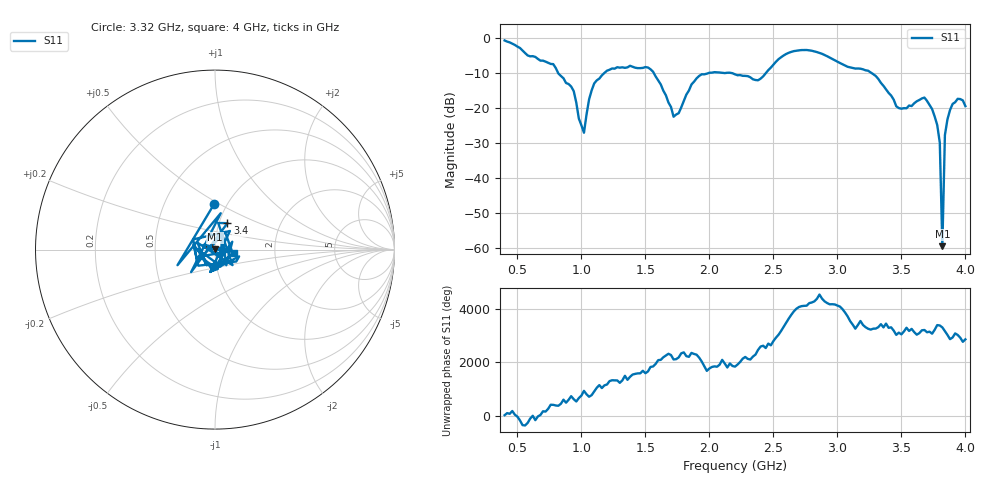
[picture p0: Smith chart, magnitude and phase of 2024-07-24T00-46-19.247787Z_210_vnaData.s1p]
!Created with skrf (http://scikit-rf.org).
# Hz S RI R 50.0
!freq ReS11 ImS11
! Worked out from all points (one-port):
!   181 points, 400 MHz to 4 GHz, reference 50 ohm
!   lowest |S11| = -59.4 dB at 3.82 GHz (marker M1), VSWR 1.00, Z = 50 + j0.106 ohm
!   |S11| at or under -10 dB: 816.9 MHz to 1.182 GHz (365.3 MHz wide, 36.5 % of centre); 1.564 GHz to 2.02 GHz (456.5 MHz wide, 25.5 % of centre); 3.263 GHz to end of sweep (the widest 3 of 4)
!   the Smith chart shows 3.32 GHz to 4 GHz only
!   S11 on the Smith chart (normalised r, x): 3.32 GHz: 0.87, +0.48; 3.4 GHz: 1.10, +0.33; 4 GHz: 1.23, -0.04
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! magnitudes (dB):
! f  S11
! 400 MHz  -0.8
! 780 MHz  -7.6
! 860 MHz  -11.6
! 940 MHz  -15.3
! 1.02 GHz  -27.1
! 1.06 GHz  -17.6
! 1.1 GHz  -13.1
! 1.3 GHz  -8.6
! 1.54 GHz  -9.0
! 1.72 GHz  -22.6
! 1.76 GHz  -21.5
! 1.92 GHz  -10.9
! 2.2 GHz  -10.5
! 2.38 GHz  -12.2
! 2.66 GHz  -3.9
! 3.1 GHz  -8.5
! 3.32 GHz  -11.8
! 3.4 GHz  -15.8
! 3.48 GHz  -20.1
! 3.56 GHz  -19.4
! 3.68 GHz  -17.1
! 3.78 GHz  -24.9
! 3.8 GHz  -29.9
! 3.82 GHz  -59.4
! 3.84 GHz  -27.8
! 3.86 GHz  -23.3
! 3.94 GHz  -17.4
! 4 GHz  -19.5
